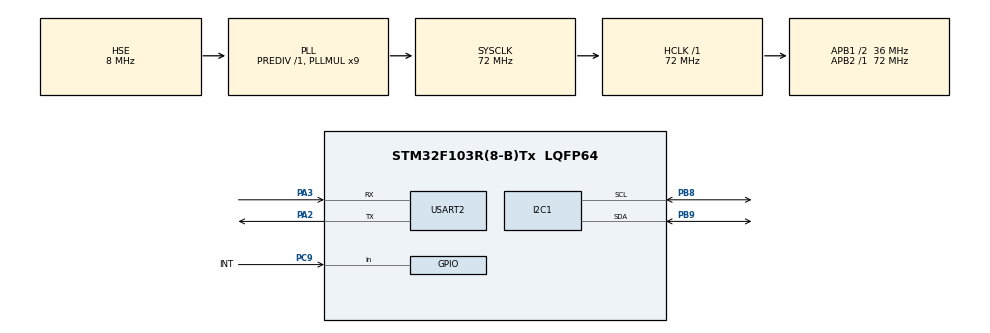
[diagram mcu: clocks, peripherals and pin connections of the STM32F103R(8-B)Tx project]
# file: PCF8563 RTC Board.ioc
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Mcu.Family=STM32F1
Mcu.Name=STM32F103R(8-B)Tx
Mcu.Package=LQFP64
NVIC.I2C1_EV_IRQn=true\:0\:0\:false\:false\:true\:true\:true
NVIC.PriorityGroup=NVIC_PRIORITYGROUP_4
PA13.Mode=Serial_Wire
PA13.Signal=SYS_JTMS-SWDIO
PA14.Mode=Serial_Wire
PA14.Signal=SYS_JTCK-SWCLK
PA2.Mode=Asynchronous
PA2.Signal=USART2_TX
PA3.Mode=Asynchronous
PA3.Signal=USART2_RX
PB8.Mode=I2C
PB8.Signal=I2C1_SCL
PB9.Mode=I2C
PB9.Signal=I2C1_SDA
PC9.GPIO_Label=INT
PC9.GPIO_PuPd=GPIO_PULLUP
PC9.Signal=GPIO_Input
PD0-OSC_IN.Mode=HSE-External-Oscillator
PD0-OSC_IN.Signal=RCC_OSC_IN
PD1-OSC_OUT.Mode=HSE-External-Oscillator
PD1-OSC_OUT.Signal=RCC_OSC_OUT
ProjectManager.HeapSize=0x200
ProjectManager.StackSize=0x400
ProjectManager.TargetToolchain=MDK-ARM V5
RCC.AHBFreq_Value=72000000
RCC.APB1CLKDivider=RCC_HCLK_DIV2
RCC.APB1Freq_Value=36000000
RCC.APB1TimFreq_Value=72000000
RCC.APB2Freq_Value=72000000
RCC.APB2TimFreq_Value=72000000
RCC.HCLKFreq_Value=72000000
RCC.PLLMUL=RCC_PLL_MUL9
RCC.PLLSourceVirtual=RCC_PLLSOURCE_HSE
RCC.SYSCLKFreq_VALUE=72000000
RCC.SYSCLKSource=RCC_SYSCLKSOURCE_PLLCLK
RCC.USBFreq_Value=72000000
USART2.VirtualMode=VM_ASYNC
board=custom

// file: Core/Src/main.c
/* USER CODE BEGIN Header */
/**
  ******************************************************************************
  * @file           : main.c
  * @brief          : Main program body
  ******************************************************************************
  * @attention
  *
  * <h2><center>&copy; Copyright (c) 2021 STMicroelectronics.
  * All rights reserved.</center></h2>
  *
  * This software component is licensed by ST under BSD 3-Clause license,
  * the "License"; You may not use this file except in compliance with the
  * License. You may obtain a copy of the License at:
  *                        opensource.org/licenses/BSD-3-Clause
  *
  ******************************************************************************
  */
/* USER CODE END Header */
#include "main.h"
#include "i2c.h"
#include "usart.h"
#include "gpio.h"

/* USER CODE BEGIN Includes */
#include "PCF8563.h"
/* USER CODE END Includes */

void SystemClock_Config(void);

/* USER CODE BEGIN 0 */
#ifdef __GNUC__
#define PUTCHAR_PROTOTYPE int __io_putchar(int ch)
#else
#define PUTCHAR_PROTOTYPE int fputc(int ch, FILE *f)
#endif
PUTCHAR_PROTOTYPE
{
    HAL_UART_Transmit(&huart2 , (uint8_t *)&ch, 1, 0xFFFF);
    return ch;
}
/* USER CODE END 0 */

int main(void)
{
  /* USER CODE BEGIN 1 */
	UBYTE buf[10];
  /* USER CODE END 1 */

  /* MCU Configuration--------------------------------------------------------*/

  /* Reset of all peripherals, Initializes the Flash interface and the Systick. */
  HAL_Init();

  /* Configure the system clock */
  SystemClock_Config();

  /* Initialize all configured peripherals */
  MX_GPIO_Init();
  MX_I2C1_Init();
  MX_USART2_UART_Init();
  /* USER CODE BEGIN 2 */
	PCF8563_Init();
  PCF8563_Set_Time(23,59,58);//Time
  PCF8563_Set_Alarm(0,0);//Alarm
  PCF8563_Set_Days(2021,9,28);//Days
  PCF8563_Set_Timer(1,10);//Timer 10S

	PCF8563_CLKOUT_FrequencyHZ(1);

  PCF8563_Alarm_Enable();
  PCF8563_Timer_Enable();
  PCF8563_CLKOUT_Enable();
  /* USER CODE END 2 */

  /* Infinite loop */
  /* USER CODE BEGIN WHILE */
  while (1)
  {
		PCF8563_Get_Time(buf);
    PCF8563_Get_Days(&buf[3]);
    printf("%d%d Year %d Month %d Day %d:%d:%d\r\n",buf[6],buf[5],buf[4],buf[3],buf[2],buf[1],buf[0]);
    HAL_Delay(994);
		if(HAL_GPIO_ReadPin(INT_GPIO_Port,INT_Pin) == 0){

      if(PCF8563_Get_Flag() == 1){
                printf("Alarm !!!!!!!!!!!!!\r\n");
                PCF8563_Cleare_AF_Flag();

            }
            else if(PCF8563_Get_Flag() == 2){
                printf("Timer !!!!!!!!!!!!!\r\n");
                PCF8563_Cleare_TF_Flag();

            }else if(PCF8563_Get_Flag() == 3){
                printf("Timer and Alarm !!!!!!!!!!!!!\r\n");
                PCF8563_Cleare_TF_Flag();
                PCF8563_Cleare_AF_Flag();
            }
        }
    /* USER CODE END WHILE */

  }
}

void SystemClock_Config(void)
{
  RCC_OscInitTypeDef RCC_OscInitStruct = {0};
  RCC_ClkInitTypeDef RCC_ClkInitStruct = {0};

  /** Initializes the RCC Oscillators according to the specified parameters
  * in the RCC_OscInitTypeDef structure.
  */
  RCC_OscInitStruct.OscillatorType = RCC_OSCILLATORTYPE_HSE;
  RCC_OscInitStruct.HSEState = RCC_HSE_ON;
  RCC_OscInitStruct.HSEPredivValue = RCC_HSE_PREDIV_DIV1;
  RCC_OscInitStruct.HSIState = RCC_HSI_ON;
  RCC_OscInitStruct.PLL.PLLState = RCC_PLL_ON;
  RCC_OscInitStruct.PLL.PLLSource = RCC_PLLSOURCE_HSE;
  RCC_OscInitStruct.PLL.PLLMUL = RCC_PLL_MUL9;
  if (HAL_RCC_OscConfig(&RCC_OscInitStruct) != HAL_OK)
  {
    Error_Handler();
  }
  /** Initializes the CPU, AHB and APB buses clocks
  */
  RCC_ClkInitStruct.ClockType = RCC_CLOCKTYPE_HCLK|RCC_CLOCKTYPE_SYSCLK
                              |RCC_CLOCKTYPE_PCLK1|RCC_CLOCKTYPE_PCLK2;
  RCC_ClkInitStruct.SYSCLKSource = RCC_SYSCLKSOURCE_PLLCLK;
  RCC_ClkInitStruct.AHBCLKDivider = RCC_SYSCLK_DIV1;
  RCC_ClkInitStruct.APB1CLKDivider = RCC_HCLK_DIV2;
  RCC_ClkInitStruct.APB2CLKDivider = RCC_HCLK_DIV1;

  if (HAL_RCC_ClockConfig(&RCC_ClkInitStruct, FLASH_LATENCY_2) != HAL_OK)
  {
    Error_Handler();
  }
}

void Error_Handler(void)
{
  __disable_irq();
  while (1)
  {
  }
}

/************************ (C) COPYRIGHT STMicroelectronics *****END OF FILE****/
